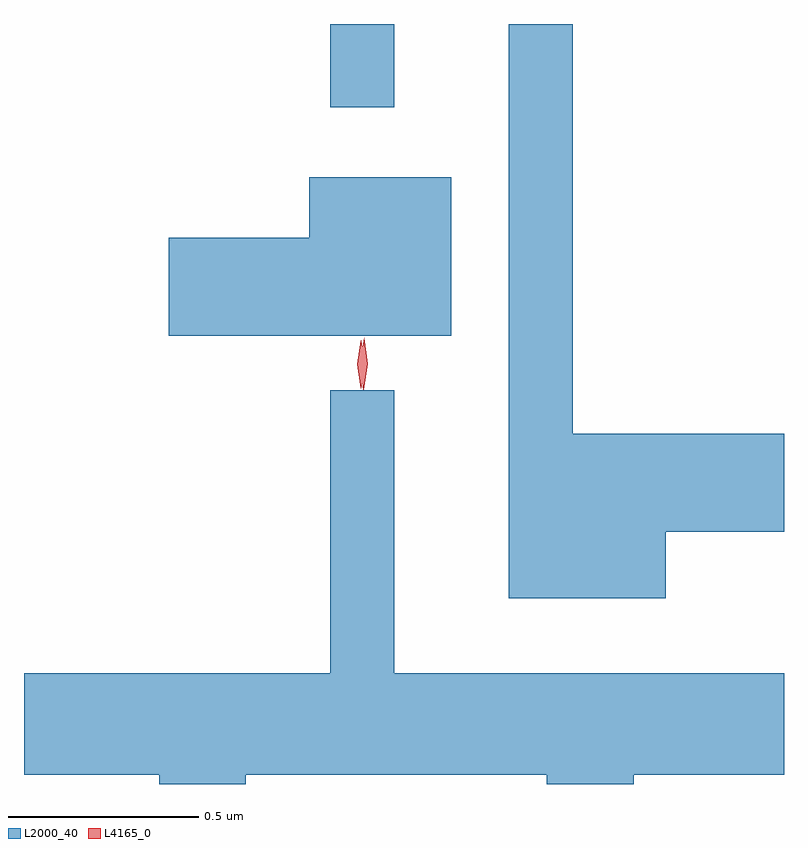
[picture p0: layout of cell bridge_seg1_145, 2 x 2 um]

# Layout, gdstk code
import gdstk
lib = gdstk.Library(unit=1e-6, precision=1e-09)
def R(c, l, rs):  # rectangles x0, y0, x1, y1
    for r in rs: c.add(gdstk.rectangle(r[:2], r[2:], *l))
def P(c, l, *ps):  # polygons
    for p in ps: c.add(gdstk.Polygon(p, *l))
L2000_40 = (2000, 40)
L4165_0 = (4165, 0)

bridge_seg1_145 = lib.new_cell('bridge_seg1_145')
R(bridge_seg1_145, L2000_40, [(963.491,939.073,963.659,939.292)])
P(bridge_seg1_145, L2000_40, [(964.374,937.956),(964.685,937.956),(964.685,938.214),(964.129,938.214),(964.129,939.292),(963.961,939.292),(963.961,937.781),(964.374,937.781)],
  [(963.809,938.889),(963.436,938.889),(963.436,938.729),(963.066,938.729),(963.066,938.471),(963.809,938.471)],
  [(963.269,937.316),(964.061,937.316),(964.061,937.292),(964.289,937.292),(964.289,937.316),(964.685,937.316),(964.685,937.584),(963.659,937.584),(963.659,938.328),(963.491,938.328),(963.491,937.584),(962.685,937.584),(962.685,937.316),(963.041,937.316),(963.041,937.292),(963.269,937.292)])
P(bridge_seg1_145, L4165_0, [(963.578,938.33),(963.578,938.33),(963.569,938.398),(963.58,938.465),(963.58,938.466),(963.58,938.465),(963.589,938.398),(963.579,938.33)],
  [(963.572,938.333),(963.571,938.334),(963.562,938.396),(963.571,938.459),(963.572,938.46),(963.572,938.459),(963.582,938.396),(963.572,938.334)])

lib.write_gds('bridge_seg1_145.gds')
